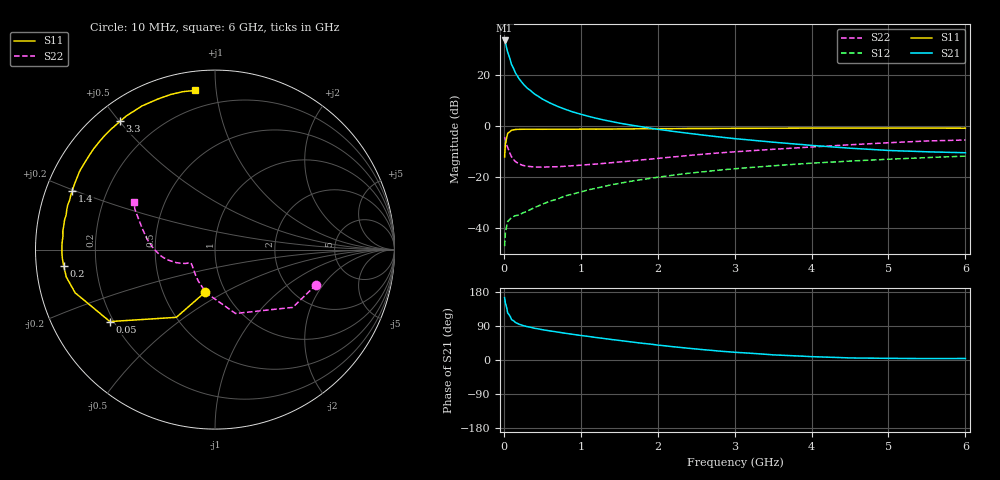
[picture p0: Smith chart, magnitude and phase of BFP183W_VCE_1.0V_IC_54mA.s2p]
! Infineon Technologies  Discrete & RF Semiconductors
! BFP183W
! VCE =  1.0 V,  IC =  54 mA
! Common Emitter S-Parameters:  Jan 2017
# GHz  S  MA  R  50
!  f  S11  S21  S12  S22
! GHz  MAG  ANG  MAG  ANG  MAG  ANG  MAG  ANG
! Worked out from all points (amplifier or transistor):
!   77 points, 10 MHz to 6 GHz, reference 50 ohm
!   highest |S21| = 33.5 dB at 10 MHz (marker M1)
!   |S21| within 3 dB of that: start of sweep to 36.73 MHz
!   unconditionally stable (mu >= 1): start of sweep to 15.97 MHz; 211.5 MHz to end of sweep
!   at 130 MHz: K = 0.71, MSG = 28.9 dB, |S12| = -35.7 dB
!   at 2.2 GHz: K = 1.47, MAG = 4.5 dB, |S12| = -19.4 dB
!   at 6 GHz: K = 1.41, MAG = -3.1 dB, |S12| = -12.0 dB
!   S11 on the Smith chart (normalised r, x): 10 MHz: 0.81, -0.40; 50 MHz: 0.19, -0.30; 200 MHz: 0.08, -0.05; 1.4 GHz: 0.08, +0.20; 3.3 GHz: 0.07, +0.50; 6 GHz: 0.10, +0.88
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0.01  0.242 -102.8  47.23 164.6  0.0043 73.5  0.596 -19.2
0.02  0.4343 -119.7  42.55 150.0  0.0077 57.7  0.54 -36.6
0.05  0.7096 -145.6  27.78 123.8  0.0131 40.0  0.3736 -72.2
0.1  0.8155 -162.8  15.93 106.6  0.0156 37.0  0.2448 -102.1
0.15  0.8426 -169.6  10.94 99.2  0.0171 38.0  0.1973 -118.4
0.2  0.8476 -173.7  8.268 94.3  0.0176 40.1  0.1769 -128.3
0.25  0.8518 -176.7  6.643 90.8  0.0195 42.0  0.1656 -135.2
0.3  0.8533 -178.8  5.543 88.2  0.0208 45.8  0.1599 -140.1
0.4  0.853 177.8  4.174 83.7  0.0246 51.3  0.1547 -145.7
0.5  0.8506 175.1  3.341 80.0  0.0287 55.7  0.1532 -148.7
0.6  0.8543 172.9  2.79 76.7  0.0329 57.9  0.1557 -150.8
0.7  0.8531 171.0  2.39 73.7  0.0364 61.1  0.1563 -152.0
0.9  0.8515 166.9  1.858 67.6  0.0456 63.4  0.1639 -152.7
1.1  0.8574 163.2  1.529 62.2  0.055 64.5  0.1724 -153.8
1.4  0.8597 157.7  1.208 54.1  0.0694 64.9  0.1878 -155.8
1.7  0.8669 152.3  1.001 46.6  0.0832 64.0  0.2063 -158.4
2.1  0.8732 145.3  0.812 37.3  0.1018 61.7  0.2354 -162.7
3.1  0.8866 129.4  0.54 19.2  0.1466 53.8  0.3141 -175.6
3.3  0.8891 126.5  0.506 16.5  0.1548 52.0  0.3285 -178.5
4.1  0.8969 115.6  0.4 8.2  0.187 44.9  0.3892 169.8
5.1  0.8982 105.1  0.322 4.3  0.2227 36.4  0.4699 156.7
6  0.8936 97.2  0.294 4.0  0.2525 28.7  0.5236 149.5
